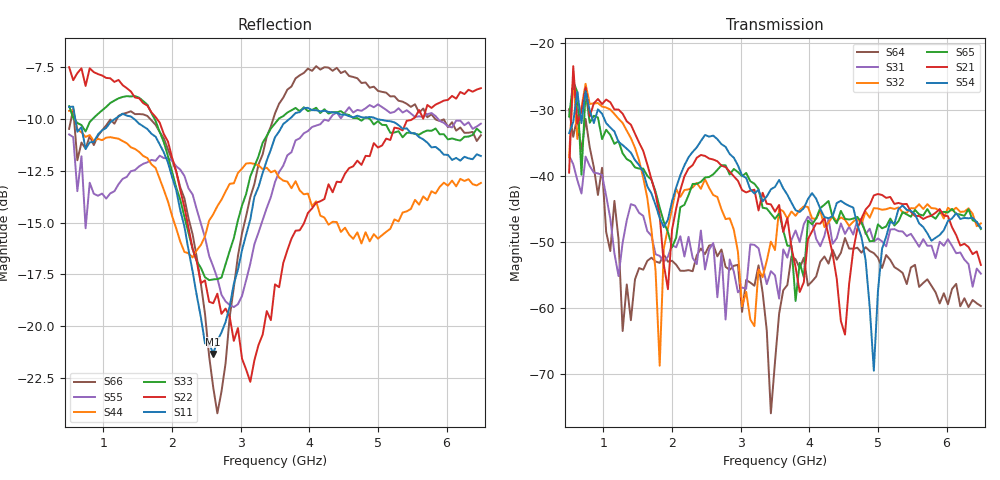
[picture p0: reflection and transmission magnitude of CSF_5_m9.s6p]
!Keysight Technologies,M9804A,MY58100912,A.14.10.03
!Date: Thursday, April 27, 2023 10:28:33
!Correction: S11(C  6-Port  )
!S12(C  6-Port  )
!S13(C  6-Port  )
!S14(C  6-Port  )
!S15(C  6-Port  )
!S16(C  6-Port  )
!S21(C  6-Port  )
!S22(C  6-Port  )
!S23(C  6-Port  )
!S24(C  6-Port  )
!S25(C  6-Port  )
!S26(C  6-Port  )
!S31(C  6-Port  )
!S32(C  6-Port  )
!S33(C  6-Port  )
!S34(C  6-Port  )
!S35(C  6-Port  )
!S36(C  6-Port  )
!S41(C  6-Port  )
!S42(C  6-Port  )
!S43(C  6-Port  )
!S44(C  6-Port  )
!S45(C  6-Port  )
!S46(C  6-Port  )
!S51(C  6-Port  )
!S52(C  6-Port  )
!S53(C  6-Port  )
!S54(C  6-Port  )
!S55(C  6-Port  )
!S56(C  6-Port  )
!S61(C  6-Port  )
!S62(C  6-Port  )
!S63(C  6-Port  )
!S64(C  6-Port  )
!S65(C  6-Port  )
!S66(C  6-Port  )
!S6P File: Measurement: :
# Hz S  RI  R 50
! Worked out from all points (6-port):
!   101 points, 500 MHz to 6.5 GHz, reference 50 ohm
!   strongest paths, dB at 500 MHz, 2 GHz, 3.5 GHz, 5 GHz, 6.5 GHz:
!     S54: -33.5, -43.9, -41.7, -57.5, -47.9
!     S21: -39.5, -48.2, -45.5, -42.8, -53.5
!     S65: -31.1, -50.8, -46.5, -47.4, -48.1
!     S32: -37.2, -45.0, -51.3, -45.0, -47.2
!     S31: -36.9, -50.5, -55.1, -49.5, -54.8
!     S64: -30.0, -52.9, -68.2, -52.4, -59.7
!   lowest |S11| = -21.3 dB at 2.6 GHz (marker M1), VSWR 1.19, Z = 42.4 + j2.17 ohm
!   |S11| at or under -10 dB: 589.1 MHz to 1.168 GHz (579.3 MHz wide, 65.9 % of centre); 1.446 GHz to 3.712 GHz (2.266 GHz wide, 87.9 % of centre); 4.983 GHz to end of sweep
